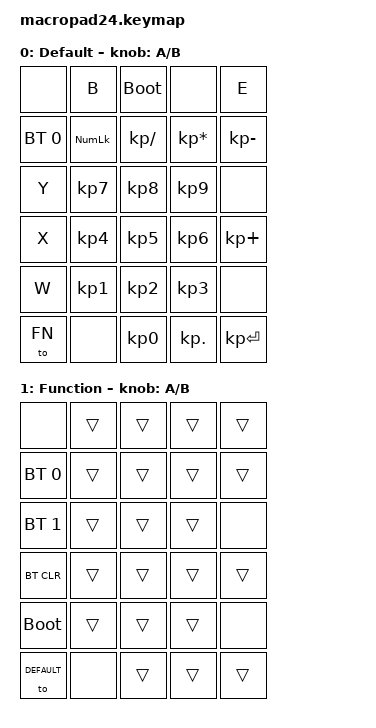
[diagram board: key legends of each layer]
#include <behaviors.dtsi>
#include <dt-bindings/zmk/keys.h>
#include <dt-bindings/zmk/bt.h>

#define DEFAULT 0
#define FN      1

&encoder {
	status = "okay";
};

/ {
    keymap {
        compatible = "zmk,keymap";

        default_layer {
            label = "Default";
            
            bindings = <
				&none			&kp B         	&bootloader     &none	          &kp E
                &bt BT_SEL 0  	&kp KP_NLCK  	&kp KP_DIVIDE   &kp KP_ASTERISK   &kp KP_MINUS
                &kp Y    		&kp KP_N7     	&kp KP_N8       &kp KP_N9		  &none
                &kp X    		&kp KP_N4     	&kp KP_N5       &kp KP_N6         &kp KP_PLUS
                &kp W    		&kp KP_N1		&kp KP_N2       &kp KP_N3 		  &none
                &to FN			&none			&kp KP_N0       &kp KP_DOT        &kp KP_ENTER
            >;
			
			sensor-bindings = <&inc_dec_kp A B>;
        };

        function_layer {
            label = "Function";
            sensor-bindings = <&inc_dec_kp A B>;
            bindings = <
				&none			&trans     	&trans		&trans		&trans
				&bt BT_SEL 0	&trans		&trans		&trans		&trans
				&bt BT_SEL 1	&trans		&trans		&trans		&none
				&bt BT_CLR		&trans		&trans		&trans		&trans
				&bootloader		&trans		&trans		&trans		&none
				&to DEFAULT		&none		&trans		&trans		&trans
			>;
        };
    };
};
